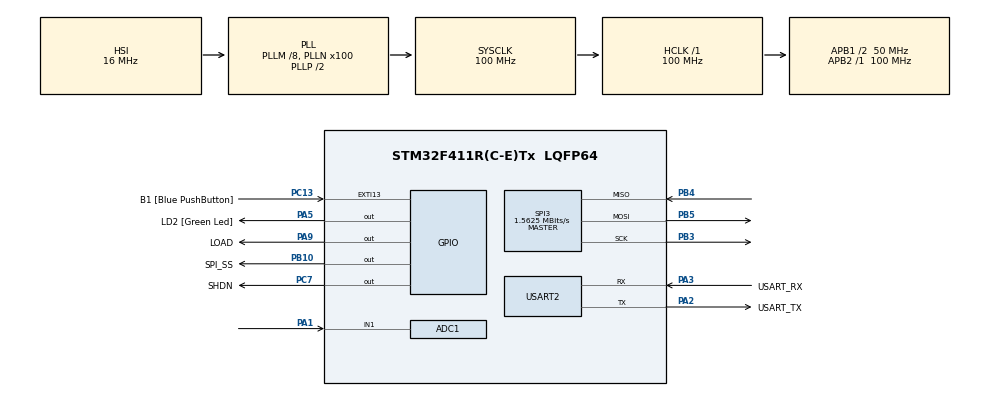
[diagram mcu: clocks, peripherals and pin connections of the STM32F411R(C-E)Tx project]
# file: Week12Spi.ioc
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Mcu.Family=STM32F4
PB10.PinState=GPIO_PIN_SET
RCC.CortexFreq_Value=100000000
SPI3.Direction=SPI_DIRECTION_2LINES
SPI3.VirtualType=VM_MASTER
PA14.GPIO_Label=TCK
RCC.SYSCLKSource=RCC_SYSCLKSOURCE_PLLCLK
ProjectManager.StackSize=0x400
NVIC.ADC_IRQn=true\:0\:0\:false\:false\:true\:true\:true
PH0\ -\ OSC_IN.Signal=RCC_OSC_IN
RCC.HCLKFreq_Value=100000000
RCC.APB2TimFreq_Value=100000000
TIM3.Period=100
Dma.ADC1.0.Direction=DMA_PERIPH_TO_MEMORY
PC7.Signal=GPIO_Output
NVIC.DMA2_Stream0_IRQn=true\:0\:0\:false\:false\:true\:false\:true
Dma.ADC1.0.MemDataAlignment=DMA_MDATAALIGN_HALFWORD
RCC.AHBFreq_Value=100000000
SPI3.DataSize=SPI_DATASIZE_16BIT
NVIC.TIM1_TRG_COM_TIM11_IRQn=true\:0\:0\:false\:false\:true\:true\:true
RCC.HSE_VALUE=8000000
PB3.Mode=Full_Duplex_Master
ADC1.ScanConvMode=ENABLE
PC13-ANTI_TAMP.Signal=GPXTI13
ADC1.SamplingTime-4\#ChannelRegularConversion=ADC_SAMPLETIME_3CYCLES
PB4.Mode=Full_Duplex_Master
PC14-OSC32_IN.Mode=LSE-External-Oscillator
PA14.Mode=Serial_Wire
TIM3.Prescaler=100
Dma.ADC1.0.PeriphInc=DMA_PINC_DISABLE
PB5.Mode=Full_Duplex_Master
PC7.PinState=GPIO_PIN_SET
RCC.FLatency-AdvancedSettings=FLASH_LATENCY_3
Mcu.Package=LQFP64
SPI3.Mode=SPI_MODE_MASTER
USART2.VirtualMode=VM_ASYNC
PA2.GPIO_Label=USART_TX
NVIC.SPI3_IRQn=true\:0\:0\:false\:false\:true\:true\:true
SH.ADCx_IN1.0=ADC1_IN1,IN1
RCC.APB1TimFreq_Value=100000000
Dma.ADC1.0.FIFOMode=DMA_FIFOMODE_DISABLE
Dma.Request0=ADC1
VP_TIM3_VS_ClockSourceINT.Mode=Internal
ADC1.Rank-4\#ChannelRegularConversion=1
PB4.Signal=SPI3_MISO
PA3.Signal=USART2_RX
PC15-OSC32_OUT.Mode=LSE-External-Oscillator
Dma.ADC1.0.Instance=DMA2_Stream0
ADC1.Channel-4\#ChannelRegularConversion=ADC_CHANNEL_1
PC13-ANTI_TAMP.GPIO_Label=B1 [Blue PushButton]
PA9.GPIO_Label=LOAD
PH1\ -\ OSC_OUT.Mode=HSE-External-Clock-Source
TIM11.Prescaler=100
RCC.APB1CLKDivider=RCC_HCLK_DIV2
PC14-OSC32_IN.Signal=RCC_OSC32_IN
NVIC.USART2_IRQn=true\:0\:0\:false\:false\:true\:true\:true
VP_TIM11_VS_ClockSourceINT.Mode=Enable_Timer
PA13.Signal=SYS_JTMS-SWDIO
PA3.Mode=Asynchronous
Dma.ADC1.0.PeriphDataAlignment=DMA_PDATAALIGN_HALFWORD
PH0\ -\ OSC_IN.Mode=HSE-External-Clock-Source
ProjectManager.TargetToolchain=STM32CubeIDE
PB10.GPIO_Label=SPI_SS
Dma.ADC1.0.Mode=DMA_CIRCULAR
Dma.ADC1.0.Priority=DMA_PRIORITY_LOW
PA9.Signal=GPIO_Output
PA9.PinState=GPIO_PIN_SET
PC15-OSC32_OUT.Signal=RCC_OSC32_OUT
PA1.Signal=ADCx_IN1
PB10.Signal=GPIO_Output
PA5.Signal=GPIO_Output
PH1\ -\ OSC_OUT.Signal=RCC_OSC_OUT
board=NUCLEO-F411RE
RCC.VCOOutputFreq_Value=200000000
RCC.APB2Freq_Value=100000000
SPI3.CalculateBaudRate=1.5625 MBits/s
SPI3.BaudRatePrescaler=SPI_BAUDRATEPRESCALER_32
ADC1.DMAContinuousRequests=ENABLE
PA13.Mode=Serial_Wire
Mcu.Name=STM32F411R(C-E)Tx
PA2.Signal=USART2_TX
PA13.GPIO_Label=TMS
ADC1.ExternalTrigConv=ADC_EXTERNALTRIGCONV_T3_TRGO
PC7.GPIO_Label=SHDN
RCC.48MHZClocksFreq_Value=50000000
PB3.Signal=SPI3_SCK
RCC.SYSCLKFreq_VALUE=100000000
PB5.Signal=SPI3_MOSI
ADC1.master=1
PA5.GPIO_Label=LD2 [Green Led]
PC13-ANTI_TAMP.GPIO_ModeDefaultEXTI=GPIO_MODE_IT_FALLING
PA14.Signal=SYS_JTCK-SWCLK
Dma.ADC1.0.MemInc=DMA_MINC_ENABLE
ProjectManager.HeapSize=0x200
RCC.HSI_VALUE=16000000
NVIC.PriorityGroup=NVIC_PRIORITYGROUP_0
ADC1.NbrOfConversionFlag=1
RCC.PLLM=8
RCC.PLLN=100
PA2.Mode=Asynchronous
TIM3.TIM_MasterOutputTrigger=TIM_TRGO_UPDATE
RCC.APB1Freq_Value=50000000
PA3.GPIO_Label=USART_RX

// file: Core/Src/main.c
/* USER CODE BEGIN Header */
/**
 ******************************************************************************
 * @file           : main.c
 * @brief          : Main program body
 ******************************************************************************
 * @attention
 *
 * <h2><center>&copy; Copyright (c) 2021 STMicroelectronics.
 * All rights reserved.</center></h2>
 *
 * This software component is licensed by ST under BSD 3-Clause license,
 * the "License"; You may not use this file except in compliance with the
 * License. You may obtain a copy of the License at:
 *                        opensource.org/licenses/BSD-3-Clause
 *
 ******************************************************************************
 */
/* USER CODE END Header */
#include "main.h"

/* USER CODE BEGIN Includes */
#include "math.h"
/* USER CODE END Includes */

ADC_HandleTypeDef hadc1;
DMA_HandleTypeDef hdma_adc1;

SPI_HandleTypeDef hspi3;

TIM_HandleTypeDef htim3;
TIM_HandleTypeDef htim11;

UART_HandleTypeDef huart2;

/* USER CODE BEGIN PV */
uint16_t ADCin = 0;
uint64_t _micro = 0;
uint8_t DACConfig = 0b0011;
uint32_t State_change = 0;
float time = 0;
int duty_cycle = 50;
int dataOut = 0;
int wave_form = 0;
int Amplitude = 0;
int my_slope = 1;
float gen_wave = 0;
float V_high = 3.3;
float V_low = 0;
float Frequency = 1;
char RxDataBuffer[32] = {0};

enum
{
	state_wait,
	state_wait_input = 10,
	state_menu_saw_wait,
	state_menu_saw = 20,
	state_menu_sin_wait,
	state_menu_sin = 30,
	state_menu_sq_wait,
	state_menu_sq = 40
};
/* USER CODE END PV */

void SystemClock_Config(void);
static void MX_GPIO_Init(void);
static void MX_DMA_Init(void);
static void MX_USART2_UART_Init(void);
static void MX_SPI3_Init(void);
static void MX_ADC1_Init(void);
static void MX_TIM3_Init(void);
static void MX_TIM11_Init(void);
/* USER CODE BEGIN PFP */
void MCP4922SetOutput(uint8_t Config, uint16_t DACOutput);
uint64_t micros();
void UARTRecieveAndResponsePolling();
int16_t UARTRecieveIT();
/* USER CODE END PFP */

int main(void)
{

  /* MCU Configuration--------------------------------------------------------*/

  /* Reset of all peripherals, Initializes the Flash interface and the Systick. */
  HAL_Init();

  /* Configure the system clock */
  SystemClock_Config();

  /* Initialize all configured peripherals */
  MX_GPIO_Init();
  MX_DMA_Init();
  MX_USART2_UART_Init();
  MX_SPI3_Init();
  MX_ADC1_Init();
  MX_TIM3_Init();
  MX_TIM11_Init();
  /* USER CODE BEGIN 2 */
	HAL_TIM_Base_Start(&htim3);
	HAL_TIM_Base_Start_IT(&htim11);
	HAL_ADC_Start_DMA(&hadc1, (uint32_t*) &ADCin, 1);

	HAL_GPIO_WritePin(LOAD_GPIO_Port, LOAD_Pin, GPIO_PIN_RESET);
  /* USER CODE END 2 */

  /* Infinite loop */
  /* USER CODE BEGIN WHILE */
	while (1)
	{
		HAL_UART_Receive_IT(&huart2, (uint8_t*) RxDataBuffer, 32);
		int16_t inputchar = UARTRecieveIT();

		static uint64_t timestamp = 0;
		if (wave_form == 1)
		{
			if (micros() - timestamp > 1000)
			{
				timestamp = micros();
				if (my_slope == 1)
				{
					gen_wave = ((V_high-V_low)*4096/3.3)*(timestamp*Frequency/1000000)+(V_low*4096/3.3);
					dataOut = gen_wave;
					Amplitude = (V_high-V_low)*4096/3.3;
					dataOut %= Amplitude;
					dataOut += (V_low*4096/3.3);
				}
				if (my_slope == -1)
				{
					gen_wave = ((V_high-V_low)*4096/3.3)*(timestamp*Frequency/1000000)+(V_low*4096/3.3);
					dataOut = -gen_wave;
					Amplitude = (V_low-V_high)*4096/3.3;
					dataOut %= Amplitude;
					dataOut += (V_high*4096/3.3);
				}
				if (hspi3.State == HAL_SPI_STATE_READY
						&& HAL_GPIO_ReadPin(SPI_SS_GPIO_Port, SPI_SS_Pin)
								== GPIO_PIN_SET)
				{
					MCP4922SetOutput(DACConfig, dataOut);
				}
			}
		}
		if (wave_form == 2)
		{
			if (micros() - timestamp > 1000)
			{
				timestamp = micros();
				gen_wave = ((V_high-V_low)*2048/3.3)*sinf(2*3.1416*timestamp*Frequency/1000000);
				float add_low = (2048+(V_low*2048/3.3));
				float add_high = ((3.3-V_high)*2048/3.3);
				dataOut = gen_wave + add_low - add_high;
				if (hspi3.State == HAL_SPI_STATE_READY
										&& HAL_GPIO_ReadPin(SPI_SS_GPIO_Port, SPI_SS_Pin)
												== GPIO_PIN_SET)
				{
					MCP4922SetOutput(DACConfig, dataOut);
				}
			}
		}
		if (wave_form == 3)
		{
			if (micros() - timestamp > 1000)
			{
				time = duty_cycle*10000*Frequency;
				if(micros() - timestamp < time)
				{
					dataOut = V_high*4095/3.3;
				}
				if(micros() - timestamp > time)
				{
					dataOut = V_low*4095/3.3;
				}
				if(micros() - timestamp >= 1000000*Frequency)
				{
					timestamp = micros();
				}
				if (hspi3.State == HAL_SPI_STATE_READY
										&& HAL_GPIO_ReadPin(SPI_SS_GPIO_Port, SPI_SS_Pin)
												== GPIO_PIN_SET)
				{
					MCP4922SetOutput(DACConfig, dataOut);
				}
			}
		}

		switch (State_change)
		{
			case state_wait:
			{
				char temp[] =	"---------------------------\r\n"
								"| FUNCTION GENERATOR MENU |\r\n"
								"---------------------------\r\n"
								"[1] : Sawtooth Wave\r\n"
								"[2] : Sine Wave\r\n"
								"[3] : Square Wave\r\n\n";
				HAL_UART_Transmit(&huart2, (uint8_t*) temp, strlen(temp), 1000);
				State_change = state_wait_input;
				break;
			}
			case state_wait_input:
				switch (inputchar)
				{
					case -1:
						break;
					case '1':
						wave_form = 1;
						Frequency = 1;
						V_high = 3.3;
						V_low = 0;
						State_change = state_menu_saw;
						break;
					case '2':
						wave_form = 2;
						Frequency = 1;
						V_high = 3.3;
						V_low = 0;
						State_change = state_menu_sin;
						break;
					case '3':
						wave_form = 3;
						Frequency = 1;
						V_high = 3.3;
						V_low = 0;
						duty_cycle = 50;
						State_change = state_menu_sq;
						break;
					default:
					{
						char temp[] = 	"/// Wrong Information ///\r\n\n";
						HAL_UART_Transmit(&huart2, (uint8_t*) temp, strlen(temp), 1000);
						State_change = state_wait;
						break;
					}
				}
				break;
			case state_menu_saw:
			{
				char temp[] = 	"------------------------\r\n"
								"|  SAWTOOTH WAVE MENU  |\r\n"
								"------------------------\r\n"
								"[1] : Frequency +0.1 Hz\r\n"
								"[2] : Frequency -0.1 Hz\r\n"
								"[3] : V_high +0.1 V\r\n"
								"[4] : V_high -0.1 V\r\n"
								"[5] : V_low +0.1 V\r\n"
								"[6] : V_low -0.1 V\r\n"
								"[7] : Slope Up/Down\r\n"
								"[x] : Back to main menu\r\n\n";
				HAL_UART_Transmit(&huart2, (uint8_t*) temp, strlen(temp), 1000);
				State_change = state_menu_saw_wait;
				break;
			}
			case state_menu_saw_wait:
				switch (inputchar)
				{
					case -1:
						break;
					case '1':
						Frequency += 0.1;
						if(Frequency >= 10)
						{
							Frequency = 10;
						}
						break;
					case '2':
						Frequency -= 0.1;
						if(Frequency <= 0)
						{
							Frequency = 0;
						}
						break;
					case '3':
						V_high += 0.1;
						if(V_high >= 3.3)
						{
							V_high = 3.3;
						}
						break;
					case '4':
						V_high -= 0.1;
						if(V_high <= 0.1)
						{
							V_high = 0.1;
						}
						else if(V_high <= V_low + 0.1)
						{
							V_high = V_high + 0.1;
						}
						break;
					case '5':
						V_low += 0.1;
						if(V_low >= 3.2)
						{
							V_low = 3.2;
						}
						if(V_low >= V_high - 0.1)
						{
							V_low = V_low - 0.1;
						}
						break;
					case '6':
						V_low -= 0.1;
						if(V_low <= 0)
						{
							V_low = 0;
						}
						break;
					case '7':
						if (my_slope == 1)
						{
							my_slope =-1;
							break;
						}
						if (my_slope == -1)
						{
							my_slope = 1;
							break;
						}
						break;
					case 'x':
						State_change = state_wait;
						break;
					default:
					{
						char temp[] = 	"/// Wrong Information ///\r\n\n";
						HAL_UART_Transmit(&huart2, (uint8_t*) temp, strlen(temp), 1000);
						State_change = state_menu_saw;
						break;
					}
				}
				break;
			case state_menu_sin:
			{
				char temp[] = 	"------------------------\r\n"
								"|    SINE WAVE MENU    |\r\n"
								"------------------------\r\n"
								"[1] : Frequency +0.1 Hz\r\n"
								"[2] : Frequency -0.1 Hz\r\n"
								"[3] : V_high +0.1 V\r\n"
								"[4] : V_high -0.1 V\r\n"
								"[5] : V_low +0.1 V\r\n"
								"[6] : V_low -0.1 V\r\n"
								"[x] : Back to main menu\r\n\n";
				HAL_UART_Transmit(&huart2, (uint8_t*) temp, strlen(temp), 1000);
				State_change = state_menu_sin_wait;
				break;
			}
			case state_menu_sin_wait:
				switch (inputchar)
				{
					case -1:
						break;
					case '1':
						Frequency += 0.1;
						if(Frequency >= 10)
						{
							Frequency = 10;
						}
						break;
					case '2':
						Frequency -= 0.1;
						if(Frequency <= 0)
						{
							Frequency = 0;
						}
						break;
					case '3':
						V_high += 0.1;
						if(V_high >= 3.3)
						{
							V_high = 3.3;
						}
						break;
					case '4':
						V_high -= 0.1;
						if(V_high <= 0.1)
						{
							V_high = 0.1;
						}
						else if(V_high <= V_low + 0.1)
						{
							V_high = V_high + 0.1;
						}
						break;
					case '5':
						V_low += 0.1;
						if(V_low >= 3.2)
						{
							V_low = 3.2;
						}
						if(V_low >= V_high - 0.1)
						{
							V_low = V_low - 0.1;
						}
						break;
					case '6':
						V_low -= 0.1;
						if(V_low <= 0)
						{
							V_low = 0;
						}
						break;
					case 'x':
						State_change = state_wait;
						break;
					default:
					{
						char temp[] = 	"/// Wrong Information ///\r\n\n";
						HAL_UART_Transmit(&huart2, (uint8_t*) temp, strlen(temp), 1000);
						State_change = state_menu_sin;
						break;
					}
				}
				break;
			case state_menu_sq:
			{
				char temp[] = 	"------------------------\r\n"
								"|    SQUARE WAVE MENU    |\r\n"
								"------------------------\r\n"
								"[1] : Frequency +0.1 Hz\r\n"
								"[2] : Frequency -0.1 Hz\r\n"
								"[3] : V_high +0.1 V\r\n"
								"[4] : V_high -0.1 V\r\n"
								"[5] : V_low +0.1 V\r\n"
								"[6] : V_low -0.1 V\r\n"
								"[7] : Duty_cycle +10\r\n"
								"[8] : Duty_cycle -10\r\n"
								"[x] : Back to main menu\r\n\n";
				HAL_UART_Transmit(&huart2, (uint8_t*) temp, strlen(temp), 1000);
				State_change = state_menu_sq_wait;
				break;
			}
			case state_menu_sq_wait:
				switch (inputchar)
				{
					case -1:
						break;
					case '1':
						Frequency += 0.1;
						if(Frequency >= 10)
						{
							Frequency = 10;
						}
						break;
					case '2':
						Frequency -= 0.1;
						if(Frequency <= 0)
						{
							Frequency = 0;
						}
						break;
					case '3':
						V_high += 0.1;
						if(V_high >= 3.3)
						{
							V_high = 3.3;
						}
						break;
					case '4':
						V_high -= 0.1;
						if(V_high <= 0.1)
						{
							V_high = 0.1;
						}
						else if(V_high <= V_low + 0.1)
						{
							V_high = V_high + 0.1;
						}
						break;
					case '5':
						V_low += 0.1;
						if(V_low >= 3.2)
						{
							V_low = 3.2;
						}
						if(V_low >= V_high - 0.1)
						{
							V_low = V_low - 0.1;
						}
						break;
					case '6':
						V_low -= 0.1;
						if(V_low <= 0)
						{
							V_low = 0;
						}
						break;
					case '7':
						duty_cycle += 10;
						if(duty_cycle >= 100)
						{
							duty_cycle = 100;
						}
						break;
					case '8':
						duty_cycle -= 10;
						if(duty_cycle <= 0)
						{
							duty_cycle = 0;
						}
						break;
					case 'x':
						State_change = state_wait;
						break;
					default:
					{
						char temp[] = 	"/// Wrong Information ///\r\n\n";
						HAL_UART_Transmit(&huart2, (uint8_t*) temp, strlen(temp), 1000);
						State_change = state_menu_sin;
						break;
					}
				}
				break;
		}

    /* USER CODE END WHILE */

	}
}

void SystemClock_Config(void)
{
  RCC_OscInitTypeDef RCC_OscInitStruct = {0};
  RCC_ClkInitTypeDef RCC_ClkInitStruct = {0};

  /** Configure the main internal regulator output voltage
  */
  __HAL_RCC_PWR_CLK_ENABLE();
  __HAL_PWR_VOLTAGESCALING_CONFIG(PWR_REGULATOR_VOLTAGE_SCALE1);
  /** Initializes the RCC Oscillators according to the specified parameters
  * in the RCC_OscInitTypeDef structure.
  */
  RCC_OscInitStruct.OscillatorType = RCC_OSCILLATORTYPE_HSI;
  RCC_OscInitStruct.HSIState = RCC_HSI_ON;
  RCC_OscInitStruct.HSICalibrationValue = RCC_HSICALIBRATION_DEFAULT;
  RCC_OscInitStruct.PLL.PLLState = RCC_PLL_ON;
  RCC_OscInitStruct.PLL.PLLSource = RCC_PLLSOURCE_HSI;
  RCC_OscInitStruct.PLL.PLLM = 8;
  RCC_OscInitStruct.PLL.PLLN = 100;
  RCC_OscInitStruct.PLL.PLLP = RCC_PLLP_DIV2;
  RCC_OscInitStruct.PLL.PLLQ = 4;
  if (HAL_RCC_OscConfig(&RCC_OscInitStruct) != HAL_OK)
  {
    Error_Handler();
  }
  /** Initializes the CPU, AHB and APB buses clocks
  */
  RCC_ClkInitStruct.ClockType = RCC_CLOCKTYPE_HCLK|RCC_CLOCKTYPE_SYSCLK
                              |RCC_CLOCKTYPE_PCLK1|RCC_CLOCKTYPE_PCLK2;
  RCC_ClkInitStruct.SYSCLKSource = RCC_SYSCLKSOURCE_PLLCLK;
  RCC_ClkInitStruct.AHBCLKDivider = RCC_SYSCLK_DIV1;
  RCC_ClkInitStruct.APB1CLKDivider = RCC_HCLK_DIV2;
  RCC_ClkInitStruct.APB2CLKDivider = RCC_HCLK_DIV1;

  if (HAL_RCC_ClockConfig(&RCC_ClkInitStruct, FLASH_LATENCY_3) != HAL_OK)
  {
    Error_Handler();
  }
}

static void MX_ADC1_Init(void)
{

  ADC_ChannelConfTypeDef sConfig = {0};

  /** Configure the global features of the ADC (Clock, Resolution, Data Alignment and number of conversion)
  */
  hadc1.Instance = ADC1;
  hadc1.Init.ClockPrescaler = ADC_CLOCK_SYNC_PCLK_DIV4;
  hadc1.Init.Resolution = ADC_RESOLUTION_12B;
  hadc1.Init.ScanConvMode = ENABLE;
  hadc1.Init.ContinuousConvMode = DISABLE;
  hadc1.Init.DiscontinuousConvMode = DISABLE;
  hadc1.Init.ExternalTrigConvEdge = ADC_EXTERNALTRIGCONVEDGE_RISING;
  hadc1.Init.ExternalTrigConv = ADC_EXTERNALTRIGCONV_T3_TRGO;
  hadc1.Init.DataAlign = ADC_DATAALIGN_RIGHT;
  hadc1.Init.NbrOfConversion = 1;
  hadc1.Init.DMAContinuousRequests = ENABLE;
  hadc1.Init.EOCSelection = ADC_EOC_SINGLE_CONV;
  if (HAL_ADC_Init(&hadc1) != HAL_OK)
  {
    Error_Handler();
  }
  /** Configure for the selected ADC regular channel its corresponding rank in the sequencer and its sample time.
  */
  sConfig.Channel = ADC_CHANNEL_1;
  sConfig.Rank = 1;
  sConfig.SamplingTime = ADC_SAMPLETIME_3CYCLES;
  if (HAL_ADC_ConfigChannel(&hadc1, &sConfig) != HAL_OK)
  {
    Error_Handler();
  }

}

static void MX_SPI3_Init(void)
{

  /* SPI3 parameter configuration*/
  hspi3.Instance = SPI3;
  hspi3.Init.Mode = SPI_MODE_MASTER;
  hspi3.Init.Direction = SPI_DIRECTION_2LINES;
  hspi3.Init.DataSize = SPI_DATASIZE_16BIT;
  hspi3.Init.CLKPolarity = SPI_POLARITY_LOW;
  hspi3.Init.CLKPhase = SPI_PHASE_1EDGE;
  hspi3.Init.NSS = SPI_NSS_SOFT;
  hspi3.Init.BaudRatePrescaler = SPI_BAUDRATEPRESCALER_32;
  hspi3.Init.FirstBit = SPI_FIRSTBIT_MSB;
  hspi3.Init.TIMode = SPI_TIMODE_DISABLE;
  hspi3.Init.CRCCalculation = SPI_CRCCALCULATION_DISABLE;
  hspi3.Init.CRCPolynomial = 10;
  if (HAL_SPI_Init(&hspi3) != HAL_OK)
  {
    Error_Handler();
  }

}

static void MX_TIM3_Init(void)
{

  TIM_ClockConfigTypeDef sClockSourceConfig = {0};
  TIM_MasterConfigTypeDef sMasterConfig = {0};

  htim3.Instance = TIM3;
  htim3.Init.Prescaler = 100;
  htim3.Init.CounterMode = TIM_COUNTERMODE_UP;
  htim3.Init.Period = 100;
  htim3.Init.ClockDivision = TIM_CLOCKDIVISION_DIV1;
  htim3.Init.AutoReloadPreload = TIM_AUTORELOAD_PRELOAD_DISABLE;
  if (HAL_TIM_Base_Init(&htim3) != HAL_OK)
  {
    Error_Handler();
  }
  sClockSourceConfig.ClockSource = TIM_CLOCKSOURCE_INTERNAL;
  if (HAL_TIM_ConfigClockSource(&htim3, &sClockSourceConfig) != HAL_OK)
  {
    Error_Handler();
  }
  sMasterConfig.MasterOutputTrigger = TIM_TRGO_UPDATE;
  sMasterConfig.MasterSlaveMode = TIM_MASTERSLAVEMODE_DISABLE;
  if (HAL_TIMEx_MasterConfigSynchronization(&htim3, &sMasterConfig) != HAL_OK)
  {
    Error_Handler();
  }

}

static void MX_TIM11_Init(void)
{

  htim11.Instance = TIM11;
  htim11.Init.Prescaler = 100;
  htim11.Init.CounterMode = TIM_COUNTERMODE_UP;
  htim11.Init.Period = 65535;
  htim11.Init.ClockDivision = TIM_CLOCKDIVISION_DIV1;
  htim11.Init.AutoReloadPreload = TIM_AUTORELOAD_PRELOAD_DISABLE;
  if (HAL_TIM_Base_Init(&htim11) != HAL_OK)
  {
    Error_Handler();
  }

}

static void MX_USART2_UART_Init(void)
{

  huart2.Instance = USART2;
  huart2.Init.BaudRate = 115200;
  huart2.Init.WordLength = UART_WORDLENGTH_8B;
  huart2.Init.StopBits = UART_STOPBITS_1;
  huart2.Init.Parity = UART_PARITY_NONE;
  huart2.Init.Mode = UART_MODE_TX_RX;
  huart2.Init.HwFlowCtl = UART_HWCONTROL_NONE;
  huart2.Init.OverSampling = UART_OVERSAMPLING_16;
  if (HAL_UART_Init(&huart2) != HAL_OK)
  {
    Error_Handler();
  }

}

static void MX_DMA_Init(void)
{

  /* DMA controller clock enable */
  __HAL_RCC_DMA2_CLK_ENABLE();

  /* DMA interrupt init */
  /* DMA2_Stream0_IRQn interrupt configuration */
  HAL_NVIC_SetPriority(DMA2_Stream0_IRQn, 0, 0);
  HAL_NVIC_EnableIRQ(DMA2_Stream0_IRQn);

}

static void MX_GPIO_Init(void)
{
  GPIO_InitTypeDef GPIO_InitStruct = {0};

  /* GPIO Ports Clock Enable */
  __HAL_RCC_GPIOC_CLK_ENABLE();
  __HAL_RCC_GPIOH_CLK_ENABLE();
  __HAL_RCC_GPIOA_CLK_ENABLE();
  __HAL_RCC_GPIOB_CLK_ENABLE();

  /*Configure GPIO pin Output Level */
  HAL_GPIO_WritePin(LD2_GPIO_Port, LD2_Pin, GPIO_PIN_RESET);

  /*Configure GPIO pin Output Level */
  HAL_GPIO_WritePin(SPI_SS_GPIO_Port, SPI_SS_Pin, GPIO_PIN_SET);

  /*Configure GPIO pin Output Level */
  HAL_GPIO_WritePin(SHDN_GPIO_Port, SHDN_Pin, GPIO_PIN_SET);

  /*Configure GPIO pin Output Level */
  HAL_GPIO_WritePin(LOAD_GPIO_Port, LOAD_Pin, GPIO_PIN_SET);

  /*Configure GPIO pin : B1_Pin */
  GPIO_InitStruct.Pin = B1_Pin;
  GPIO_InitStruct.Mode = GPIO_MODE_IT_FALLING;
  GPIO_InitStruct.Pull = GPIO_NOPULL;
  HAL_GPIO_Init(B1_GPIO_Port, &GPIO_InitStruct);

  /*Configure GPIO pins : LD2_Pin LOAD_Pin */
  GPIO_InitStruct.Pin = LD2_Pin|LOAD_Pin;
  GPIO_InitStruct.Mode = GPIO_MODE_OUTPUT_PP;
  GPIO_InitStruct.Pull = GPIO_NOPULL;
  GPIO_InitStruct.Speed = GPIO_SPEED_FREQ_LOW;
  HAL_GPIO_Init(GPIOA, &GPIO_InitStruct);

  /*Configure GPIO pin : SPI_SS_Pin */
  GPIO_InitStruct.Pin = SPI_SS_Pin;
  GPIO_InitStruct.Mode = GPIO_MODE_OUTPUT_PP;
  GPIO_InitStruct.Pull = GPIO_NOPULL;
  GPIO_InitStruct.Speed = GPIO_SPEED_FREQ_LOW;
  HAL_GPIO_Init(SPI_SS_GPIO_Port, &GPIO_InitStruct);

  /*Configure GPIO pin : SHDN_Pin */
  GPIO_InitStruct.Pin = SHDN_Pin;
  GPIO_InitStruct.Mode = GPIO_MODE_OUTPUT_PP;
  GPIO_InitStruct.Pull = GPIO_NOPULL;
  GPIO_InitStruct.Speed = GPIO_SPEED_FREQ_LOW;
  HAL_GPIO_Init(SHDN_GPIO_Port, &GPIO_InitStruct);

}

/* USER CODE BEGIN 4 */
int16_t UARTRecieveIT() {
	static uint32_t dataPos = 0;
	int16_t data = -1;
	if (huart2.RxXferSize - huart2.RxXferCount != dataPos) {
		data = RxDataBuffer[dataPos];
		dataPos = (dataPos + 1) % huart2.RxXferSize;
	}
	return data;
}

void MCP4922SetOutput(uint8_t Config, uint16_t DACOutput)
{
	uint32_t OutputPacket = (DACOutput & 0x0fff) | ((Config & 0xf) << 12);
	HAL_GPIO_WritePin(SPI_SS_GPIO_Port, SPI_SS_Pin, GPIO_PIN_RESET);
	HAL_SPI_Transmit_IT(&hspi3, &OutputPacket, 1);
}

void HAL_SPI_TxCpltCallback(SPI_HandleTypeDef *hspi)
{
	if (hspi == &hspi3)
	{
		HAL_GPIO_WritePin(SPI_SS_GPIO_Port, SPI_SS_Pin, GPIO_PIN_SET);
	}
}

void HAL_TIM_PeriodElapsedCallback(TIM_HandleTypeDef *htim)
{
	if (htim == &htim11)
	{
		_micro += 65535;
	}
}

inline uint64_t micros()
{
	return htim11.Instance->CNT + _micro;
}
/* USER CODE END 4 */

void Error_Handler(void)
{
	__disable_irq();
	while (1)
	{
	}
}

/************************ (C) COPYRIGHT STMicroelectronics *****END OF FILE****/
